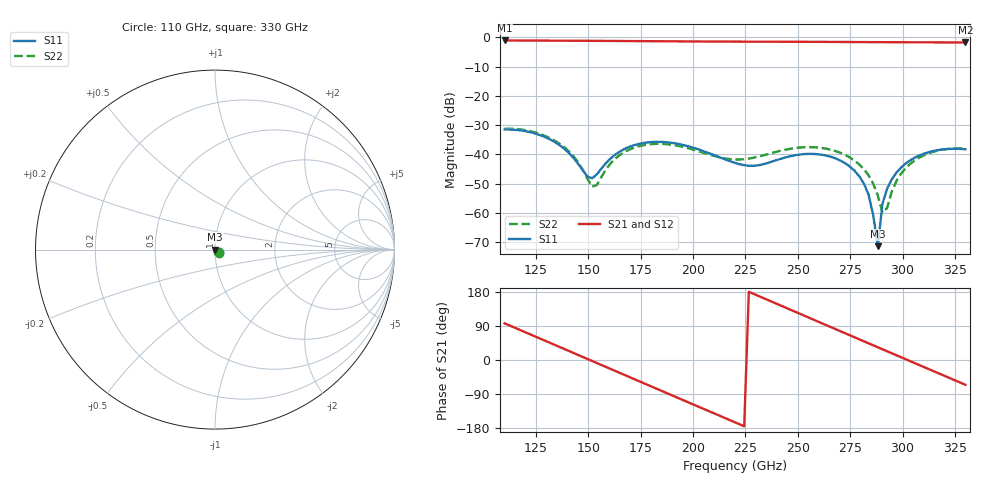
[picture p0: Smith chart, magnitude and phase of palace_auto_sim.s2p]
#  GHZ S DB R 50
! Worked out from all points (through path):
!   101 points, 110 GHz to 330 GHz, reference 50 ohm
!   highest |S21| = -1.09 dB at 110 GHz (marker M1); lowest = -1.8 dB at 330 GHz (marker M2)
!   group delay of S21, straight-line fit = 6.59 ps
!   lowest |S11| = -71.3 dB at 288.2 GHz (marker M3), VSWR 1.00, Z = 50 + j0.027 ohm
!   |S11| at or under -10 dB: start of sweep to end of sweep
!   |S22| runs from -59.9 to -31.2 dB; largest |S21 - S12| = 9.9e-14
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110  -31.52 -37.2  -1.09 96.7  -1.09 96.7  -31.21 -39.4
121  -32.22 -59.3  -1.13 70.6  -1.13 70.6  -31.88 -62.3
132  -34.99 -80.2  -1.16 44.5  -1.16 44.5  -34.58 -84.6
147.4  -45.55 -80.1  -1.21 7.8  -1.21 7.8  -45.34 -97.6
151.8  -48.16 -40.8  -1.23 -2.6  -1.23 -2.6  -51.04 -61.5
167.2  -38.17 -9.1  -1.29 -39.3  -1.29 -39.3  -39.21 -5.3
184.8  -35.74 -38.1  -1.37 -81.1  -1.37 -81.1  -36.41 -34.3
200.2  -37.76 -59.1  -1.43 -117.6  -1.43 -117.6  -38.40 -52.0
220  -42.89 -56.8  -1.49 -164.4  -1.49 -164.4  -41.74 -40.4
237.6  -42.48 -28.3  -1.52 153.8  -1.52 153.8  -39.54 -27.6
257.4  -39.84 -46.7  -1.57 106.7  -1.57 106.7  -37.55 -52.7
270.6  -42.21 -73.5  -1.61 75.3  -1.61 75.3  -39.54 -81.2
279.4  -47.53 -93.8  -1.64 54.4  -1.64 54.4  -43.48 -104.0
283.8  -53.80 -105.2  -1.66 44.0  -1.66 44.0  -47.19 -118.5
286  -60.86 -113.5  -1.66 38.7  -1.66 38.7  -50.01 -128.4
288.2  -71.35 85.4  -1.67 33.5  -1.67 33.5  -54.11 -144.2
290.4  -56.92 65.0  -1.68 28.3  -1.68 28.3  -59.92 175.1
292.6  -51.74 58.2  -1.69 23.1  -1.69 23.1  -58.31 99.7
294.8  -48.56 52.3  -1.69 17.9  -1.69 17.9  -52.85 70.0
299.2  -44.55 41.2  -1.71 7.5  -1.71 7.5  -46.67 47.3
308  -40.38 19.6  -1.73 -13.3  -1.73 -13.3  -41.10 20.4
330  -38.25 -33.1  -1.77 -65.4  -1.77 -65.4  -37.99 -35.1
